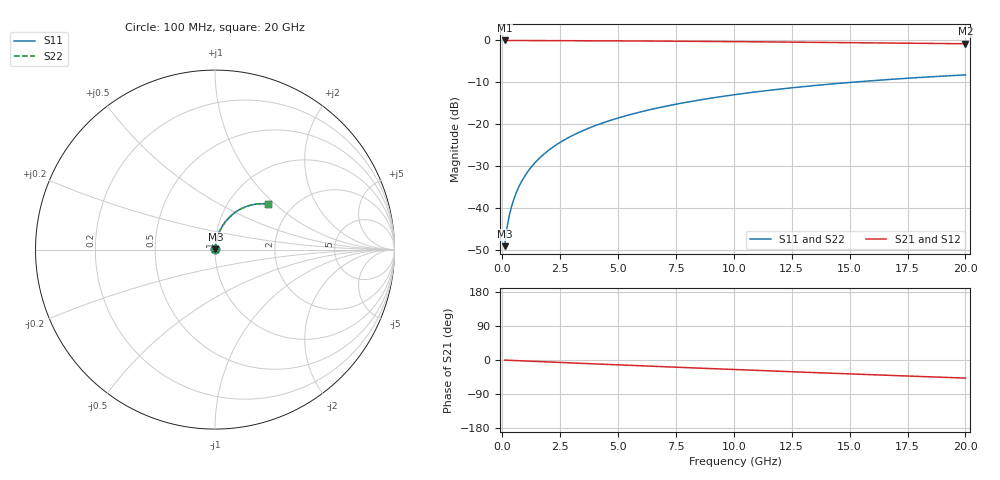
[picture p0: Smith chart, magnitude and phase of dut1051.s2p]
! Touchstone file exported from HFSS 2026.1.0
!  File:  C:/ffzhzh/LocalFiles/Ansys_Project_Files/temp_train_BSMRDL_1051_1783173925_43440.aedt
!  Generated:  10:06:50 PM Jul  4, 2026
!  Design:  BSMRDL
!  Project:  temp_train_BSMRDL_1051_1783173925_43440
! Variables:
!  h_bsmrdl = 4.46um
!  h_ox = 20um
!  h_rdl = 5um
!  h_sub = 80um
!  h_tmrdl = 5um
!  h_tsv = 80um
!  h_via = 3um
!  l_bsmrdl = 726.45um
!  l_sub = 1126.45um
!  l_tmrdl = 200um
!  m_sub = 200um
!  pitch = 56.57um
!  r_tsv = 6um
!  s_tmrdl = 10um
!  w_bsmrdl = 28.45um
!  w_sub = 500um
!  w_tmrdl = 12um
!  x_tsv_center1 = 206um
!  x_tsv_center2 = 960.9um
!  x_tsv_center3 = 1172.9um
!  x_tsv_center4 = 1927.8um
!  x_tsv_center5 = 2139.8um
!  x_tsv_center6 = 2894.7um
# GHz S MA R 50.000000
! Terminal data exported
! Port[1] = BSM_RDL1_1_T1
! Port[2] = BSM_RDL1_1_T2
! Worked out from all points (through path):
!   200 points, 100 MHz to 20 GHz, reference 50 ohm
!   highest |S21| = -0.02 dB at 100 MHz (marker M1); lowest = -0.8 dB at 20 GHz (marker M2)
!   group delay of S21, straight-line fit = 6.63 ps
!   lowest |S11| = -49.0 dB at 100 MHz (marker M3), VSWR 1.01, Z = 50.2 + j0.272 ohm
!   |S11| at or under -10 dB: start of sweep to 15.06 GHz
!   |S22| runs from -49.0 to -8.2 dB; largest |S21 - S12| = 5.2e-15
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0.1  0.003533 49.9  0.9977 -0.3  0.9977 -0.3  0.003533 49.9
! Gamma 0 0 0 0
! Port Impedance 50 0 50 0
0.2  0.005811 64.5  0.9975 -0.5  0.9975 -0.5  0.005811 64.5
0.3  0.008146 70.5  0.9974 -0.8  0.9974 -0.8  0.008146 70.5
0.4  0.01049 74.0  0.9972 -1.1  0.9972 -1.1  0.01049 74.0
0.5  0.01286 76.2  0.9971 -1.3  0.9971 -1.3  0.01286 76.2
0.7  0.01763 78.8  0.997 -1.8  0.997 -1.8  0.01763 78.8
0.8  0.02004 79.5  0.9969 -2.1  0.9969 -2.1  0.02004 79.5
1  0.02486 80.4  0.9967 -2.6  0.9967 -2.6  0.02486 80.5
1.2  0.0297 80.9  0.9965 -3.1  0.9965 -3.1  0.0297 80.9
1.4  0.03454 81.1  0.9962 -3.6  0.9962 -3.6  0.03454 81.1
1.7  0.04178 81.0  0.9958 -4.4  0.9958 -4.4  0.04178 81.0
2  0.049 80.7  0.9953 -5.2  0.9953 -5.2  0.049 80.7
2.7  0.06571 79.5  0.9939 -7.0  0.9939 -7.0  0.06571 79.5
3.5  0.08453 77.9  0.9919 -9.0  0.9919 -9.0  0.08453 77.9
4.2  0.1007 76.3  0.9899 -10.8  0.9899 -10.8  0.1007 76.3
5  0.1189 74.5  0.9873 -12.8  0.9873 -12.8  0.1189 74.5
6.8  0.1586 70.3  0.9806 -17.3  0.9806 -17.3  0.1586 70.3
8.3  0.1904 66.8  0.9742 -21.0  0.9742 -21.0  0.1904 66.8
10.1  0.2267 62.6  0.9658 -25.3  0.9658 -25.3  0.2267 62.6
13.4  0.2881 55.1  0.9485 -33.1  0.9485 -33.1  0.2881 55.1
16.7  0.342 47.9  0.93 -40.5  0.93 -40.5  0.342 47.9
20  0.3881 40.9  0.9115 -47.7  0.9115 -47.7  0.3881 40.9
